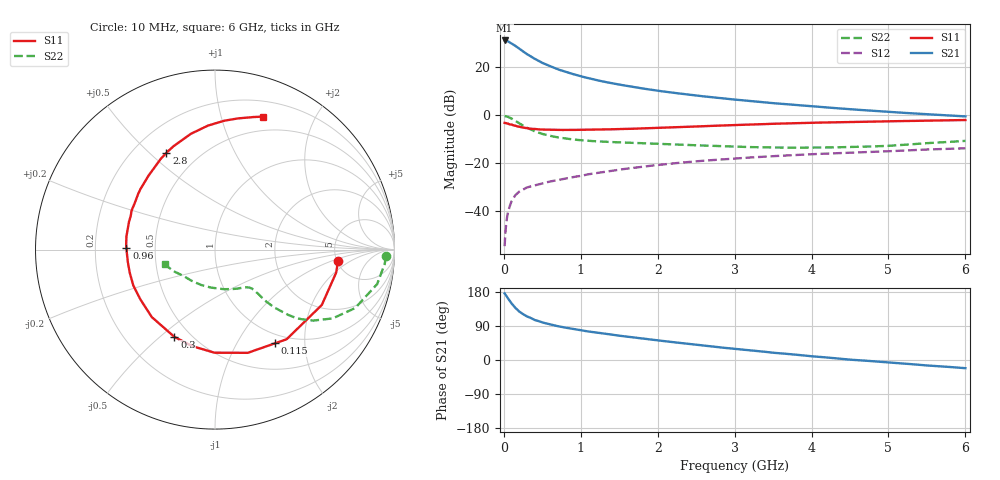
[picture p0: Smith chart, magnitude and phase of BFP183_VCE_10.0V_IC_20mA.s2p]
! Infineon Technologies  Discrete & RF Semiconductors
! BFP183
! VCE = 10.0V,  IC =  20 mA
! Common Emitter S-Parameters:  Jan 2016
# GHz  S  MA  R  50
!  f  S11  S21  S12  S22
! GHz  MAG  ANG  MAG  ANG  MAG  ANG  MAG  ANG
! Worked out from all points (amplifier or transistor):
!   210 points, 10 MHz to 6 GHz, reference 50 ohm
!   highest |S21| = 31.0 dB at 10 MHz (marker M1)
!   |S21| within 3 dB of that: start of sweep to 182.8 MHz
!   unconditionally stable (mu >= 1): 972.3 MHz to 5.916 GHz
!   at 185 MHz: K = 0.35, MSG = 30.1 dB, |S12| = -32.2 dB
!   at 1.52 GHz: K = 1.11, MAG = 15.6 dB, |S12| = -22.6 dB
!   at 6 GHz: K = 0.99, MSG = 6.6 dB, |S12| = -13.8 dB
!   S11 on the Smith chart (normalised r, x): 10 MHz: 5.12, -1.22; 115 MHz: 0.86, -1.46; 300 MHz: 0.41, -0.56; 960 MHz: 0.34, +0.01; 2.8 GHz: 0.33, +0.57; 6 GHz: 0.35, +1.37
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0.01  0.6886 -5.2  35.3 175.8  0.0019 73.0  0.9533 -2.3
0.02  0.6871 -10.8  35.1 173.1  0.0036 76.7  0.9489 -4.8
0.05  0.6704 -27.4  34.13 163.4  0.009 77.7  0.9236 -12.0
0.1  0.6393 -51.4  30.73 149.3  0.0162 64.6  0.8465 -22.6
0.115  0.6199 -57.4  29.56 146.0  0.0179 62.3  0.819 -24.7
0.15  0.6034 -72.4  27.27 137.4  0.0218 58.4  0.7597 -30.3
0.2  0.5744 -90.3  23.92 127.9  0.0257 55.2  0.6746 -35.9
0.24  0.5546 -100.7  21.41 122.3  0.0279 52.2  0.6171 -38.9
0.3  0.5364 -114.9  18.42 115.0  0.0314 49.6  0.5456 -41.8
0.4  0.5151 -133.1  14.73 105.7  0.0347 48.0  0.461 -44.3
0.5  0.4999 -146.2  12.1 99.0  0.038 47.1  0.4058 -45.4
0.6  0.4972 -156.3  10.35 93.8  0.0417 47.4  0.3693 -45.6
0.7  0.4922 -164.7  8.897 89.3  0.0447 48.2  0.3442 -45.7
0.96  0.4936 178.8  6.645 80.0  0.0534 49.5  0.3045 -46.3
1.02  0.4962 175.5  6.252 77.9  0.0555 49.7  0.2982 -46.6
1.48  0.5115 155.6  4.344 64.7  0.0728 49.5  0.2719 -50.6
2.02  0.5413 136.9  3.162 51.4  0.0926 46.7  0.2526 -59.0
2.8  0.604 116.6  2.255 33.5  0.1189 40.7  0.2275 -76.3
3.1  0.627 109.6  2.025 27.6  0.1284 38.3  0.2185 -84.2
4.1  0.6965 91.8  1.478 8.3  0.1563 29.6  0.2116 -114.8
5.1  0.7459 79.0  1.135 -7.9  0.1801 22.3  0.2351 -143.3
6  0.7881 70.1  0.937 -21.6  0.2039 14.4  0.2911 -163.6
